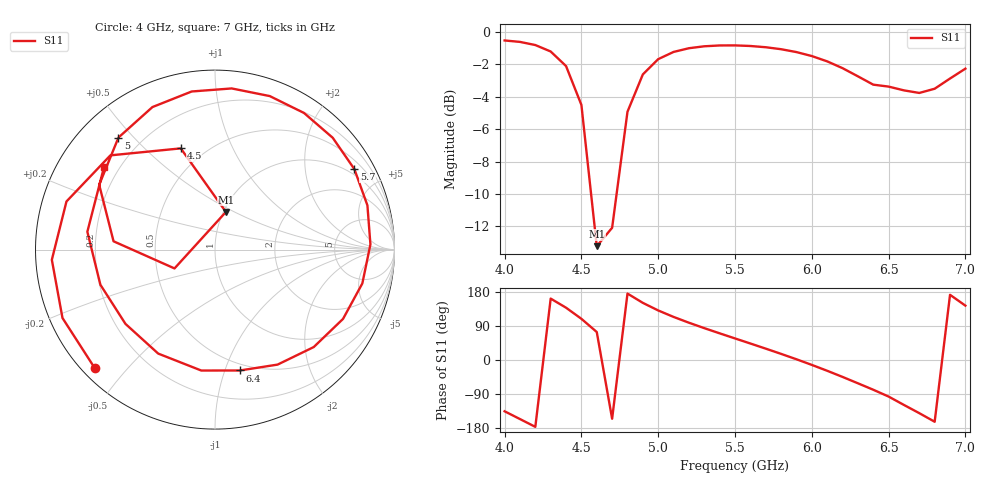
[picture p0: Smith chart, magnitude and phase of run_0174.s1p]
! Touchstone file exported from HFSS 2024.2.0
!  File:  C:/Users/wsak9/Desktop/Sim Fast/Widenad Patch/WP_AI_V1_sweep.aedt
!  Generated:  10:11:48 PM Oct 13, 2026
!  Design:  A1_model
!  Project:  WP_AI_V1_sweep
!  Setup:  Setup1
!  Solution:  Sweep
! Variables:
!  Air_gap = 2.03mm
!  Curve_Amp1 = 1.79
!  Curve_len1 = 1
!  Curve_pos = 12.11mm
!  Extra = 1.2mm
!  H_sub = 0.79mm
!  L_Patch = 20.22mm
!  L_Patch1 = 13.08mm
!  Sx = 0.2mm
!  Sy = 0.55mm
!  WS = 0.88mm
!  W_Patch = 19.18mm
!  W_Patch1 = 11.88mm
!Data is not renormalized
# GHz S MA
! Terminal data exported
! Port[1] = 1
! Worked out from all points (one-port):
!   31 points, 4 GHz to 7 GHz, reference per port
!   lowest |S11| = -13.2 dB at 4.6 GHz (marker M1), VSWR 1.56
!   |S11| at or under -10 dB: 4.563 GHz to 4.729 GHz (166 MHz wide, 3.57 % of centre)
!   S11 on the Smith chart (normalised r, x): 4 GHz: 0.04, -0.41; 4.5 GHz: 0.37, +0.65; 5 GHz: 0.12, +0.45; 5.7 GHz: 0.78, +3.57; 6.4 GHz: 0.44, -1.13; 7 GHz: 0.14, +0.32
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4  0.9409 -135.3
4.1  0.9313 -155.8
4.2  0.9108 -176.4
4.3  0.8699 162.0
4.4  0.7845 138.0
4.5  0.5953 108.7
4.6  0.2184 73.8
4.7  0.2488 -155.1
4.8  0.5672 175.3
4.9  0.7394 150.8
5  0.8241 130.7
5.1  0.8672 113.7
5.2  0.8904 98.4
5.3  0.9027 84.1
5.5  0.9085 56.9
5.7  0.8967 30.0
5.9  0.8664 1.9
6  0.8423 -12.9
6.1  0.8111 -28.4
6.2  0.773 -44.6
6.3  0.7294 -61.4
6.4  0.6875 -78.5
6.5  0.6781 -96.5
6.6  0.6601 -118.6
6.7  0.6481 -140.3
6.8  0.6679 -163.0
6.9  0.7181 172.0
7  0.7701 143.5
